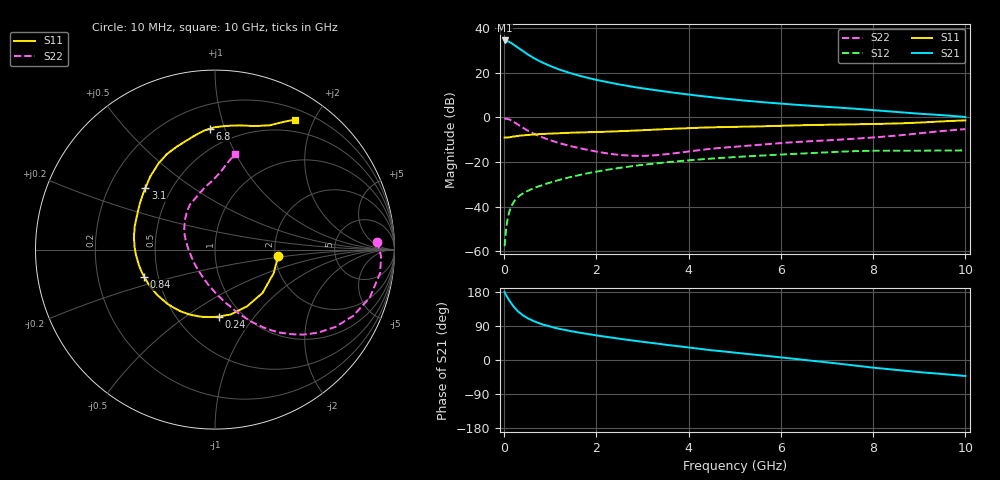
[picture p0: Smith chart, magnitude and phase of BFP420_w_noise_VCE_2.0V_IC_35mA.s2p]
! Infineon Technologies  Discrete & RF Semiconductors
! BFP420
! VCE =  2.0 V,  IC =  35 mA
! Common Emitter S-Parameters:  Jan 2016
# GHz  S  MA  R  50
!  f  S11  S21  S12  S22
! GHz  MAG  ANG  MAG  ANG  MAG  ANG  MAG  ANG
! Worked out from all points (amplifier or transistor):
!   233 points, 10 MHz to 10 GHz, reference 50 ohm
!   highest |S21| = 34.4 dB at 10 MHz (marker M1)
!   |S21| within 3 dB of that: start of sweep to 284.6 MHz
!   unconditionally stable (mu >= 1): start of sweep to 11.33 MHz; 1.401 GHz to end of sweep
!   at 200 MHz: K = 0.33, MSG = 35.4 dB, |S12| = -38.2 dB
!   at 1.74 GHz: K = 1.06, MAG = 20.2 dB, |S12| = -25.4 dB
!   at 10 GHz: K = 1.06, MAG = 6.0 dB, |S12| = -14.8 dB
!   lowest NFmin = 1.64 dB at 900 MHz
!   S11 on the Smith chart (normalised r, x): 10 MHz: 2.07, -0.16; 240 MHz: 0.78, -0.68; 840 MHz: 0.42, -0.15; 3.1 GHz: 0.36, +0.33; 6.8 GHz: 0.36, +0.89; 10 GHz: 0.33, +1.74
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0.01  0.3519 -5.5  52.33 179.5  0.0013 115.6  0.9044 2.8
0.025  0.3505 -11.0  51.28 174.9  0.002 92.7  0.926 -3.3
0.05  0.3522 -21.9  50.96 169.6  0.0036 84.5  0.9294 -8.1
0.1  0.3583 -42.4  49.25 159.3  0.0069 78.4  0.9025 -17.3
0.15  0.3631 -60.5  46.25 150.0  0.0098 73.4  0.8543 -25.6
0.2  0.3717 -76.1  42.87 141.8  0.0123 69.4  0.7975 -32.7
0.24  0.3738 -86.9  39.95 136.1  0.0141 66.8  0.7503 -37.4
0.3  0.3818 -101.2  36.1 128.4  0.0163 63.9  0.6834 -43.9
0.36  0.3888 -112.2  32.55 122.2  0.0183 61.8  0.623 -48.9
0.4  0.3933 -118.7  30.42 118.4  0.0195 60.9  0.5867 -52.0
0.5  0.4023 -131.8  25.9 110.7  0.0222 59.5  0.5096 -58.2
0.6  0.4092 -141.9  22.36 104.5  0.0247 58.9  0.4495 -63.3
0.84  0.4224 -158.9  16.6 93.7  0.0306 58.7  0.3508 -72.5
1.2  0.4406 -175.4  11.68 82.2  0.0397 58.4  0.2629 -85.0
1.68  0.4584 169.8  8.26 71.1  0.0523 56.5  0.1978 -101.2
2.3  0.4773 154.7  5.919 59.6  0.0684 52.1  0.1516 -125.4
3.1  0.5173 138.7  4.285 46.6  0.0883 44.9  0.1373 -163.5
3.4  0.5366 133.2  3.868 42.0  0.0953 42.1  0.1446 -177.1
5.1  0.6111 110.5  2.418 18.2  0.1303 25.6  0.2227 139.6
6.8  0.6743 92.3  1.761 -3.5  0.1608 9.5  0.2961 114.7
8.4  0.7195 73.2  1.34 -25.2  0.1782 -8.6  0.3793 93.1
10  0.8504 58.4  1.012 -42.2  0.1814 -21.0  0.5426 78.1
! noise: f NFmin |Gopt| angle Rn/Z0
0.9  1.64  0.3  -155  0.13
1.8  1.9  0.37  -142  0.15
2.4  2.1  0.34  -134  0.19
3  2.11  0.4  -126  0.22
4  2.25  0.5  -110  0.35
5  2.73  0.54  -94  0.59
6  3.16  0.59  -82  0.84
